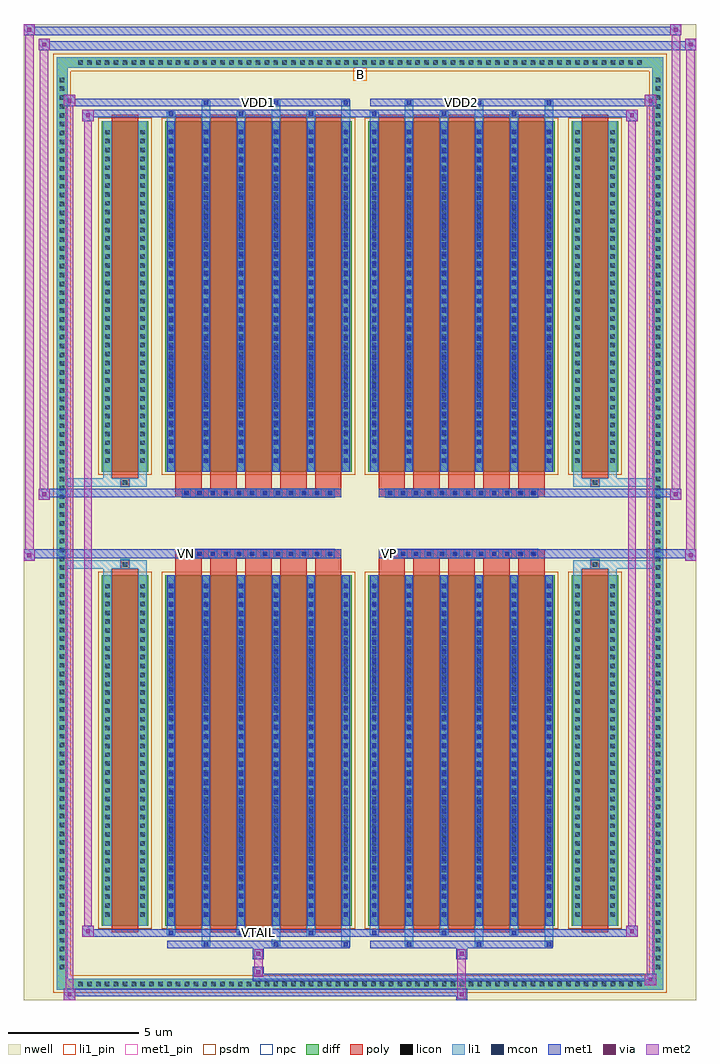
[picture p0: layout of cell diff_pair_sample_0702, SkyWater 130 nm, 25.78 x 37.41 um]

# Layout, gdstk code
import gdstk
lib = gdstk.Library(unit=1e-6, precision=5e-09)
def R(c, l, rs):  # rectangles x0, y0, x1, y1
    for r in rs: c.add(gdstk.rectangle(r[:2], r[2:], *l))
def A(c, l, x, y, w, h, nx, ny, dx, dy):  # array of equal rectangles
    R(c, l, [(x+i*dx, y+j*dy, x+i*dx+w, y+j*dy+h) for i in range(nx) for j in range(ny)])
def P(c, l, *ps):  # polygons
    for p in ps: c.add(gdstk.Polygon(p, *l))
nwell = (64, 20)
diff = (65, 20)
poly = (66, 20)
licon = (66, 44)
li1_pin = (67, 16)
li1 = (67, 20)
mcon = (67, 44)
met1_pin = (68, 16)
met1 = (68, 20)
via = (68, 44)
met2 = (69, 20)
psdm = (94, 20)
npc = (95, 20)

diff_pair_sample_0702 = lib.new_cell('diff_pair_sample_0702')
R(diff_pair_sample_0702, nwell, [(-12.89,-18.27,12.89,19.14), (-10.21,-16.46,-0.01,-0.8), (0.01,-16.46,10.21,-0.8), (-10.21,0.8,-0.01,16.46), (0.01,0.8,10.21,16.46)])
A(diff_pair_sample_0702, diff, -10.915, -17.87, 0.41, 0.41, 64, 2, 0.34, 35.33)
A(diff_pair_sample_0702, diff, -11.62, -17.205, 0.41, 0.41, 1, 101, 0, 0.34)
A(diff_pair_sample_0702, diff, 11.21, -17.205, 0.41, 0.41, 1, 101, 0, 0.34)
R(diff_pair_sample_0702, diff, [(-10.915,-17.87,10.915,-17.46), (-11.62,-17.205,-11.21,17.205), (11.21,-17.205,11.62,17.205), (-9.9,-15.415,-8.11,-1.985), (-7.47,-15.415,-0.32,-1.985), (0.32,-15.415,7.47,-1.985), (8.11,-15.415,9.9,-1.985), (-9.9,1.985,-8.11,15.415), (-7.47,1.985,-0.32,15.415), (0.32,1.985,7.47,15.415), (8.11,1.985,9.9,15.415), (-10.915,17.46,10.915,17.87)])
P(diff_pair_sample_0702, diff, [(11.62,17.87),(-11.62,17.87),(-11.62,-17.46),(-11.21,-17.46),(-11.21,17.46),(11.21,17.46),(11.21,-17.46),(-11.21,-17.46),(-11.62,-17.46),(-11.62,-17.87),(11.62,-17.87)])
A(diff_pair_sample_0702, poly, -7.08, -15.665, 1.01, 13.93, 5, 2, 1.34, 17.4)
A(diff_pair_sample_0702, poly, 0.71, -15.665, 1.01, 13.93, 5, 2, 1.34, 17.4)
A(diff_pair_sample_0702, poly, -7.08, -1.735, 1.01, 0.405, 5, 2, 1.34, 3.065)
A(diff_pair_sample_0702, poly, 0.71, -1.735, 1.01, 0.405, 5, 2, 1.34, 3.065)
A(diff_pair_sample_0702, poly, -6.81, -1.33, 0.33, 0.33, 12, 2, 0.5, 2.33)
A(diff_pair_sample_0702, poly, 0.98, -1.33, 0.33, 0.33, 12, 2, 0.5, 2.33)
R(diff_pair_sample_0702, poly, [(-9.51,-15.665,-8.5,-1.735), (8.5,-15.665,9.51,-1.735), (-9.17,-1.735,-8.84,-1.405), (-9.17,-1.735,-8.84,-1.405), (8.84,-1.735,9.17,-1.405), (8.84,-1.735,9.17,-1.405), (-7.08,-1.33,-0.71,-1), (0.71,-1.33,7.08,-1), (-7.08,1,-0.71,1.33), (0.71,1,7.08,1.33), (-9.17,1.405,-8.84,1.735), (-9.17,1.405,-8.84,1.735), (8.84,1.405,9.17,1.735), (8.84,1.405,9.17,1.735), (-9.51,1.735,-8.5,15.665), (8.5,1.735,9.51,15.665)])
A(diff_pair_sample_0702, licon, -10.795, -17.75, 0.17, 0.17, 64, 2, 0.34, 35.33)
A(diff_pair_sample_0702, licon, -11.5, -17.085, 0.17, 0.17, 1, 101, 0, 0.34)
A(diff_pair_sample_0702, licon, 11.33, -17.085, 0.17, 0.17, 1, 101, 0, 0.34)
A(diff_pair_sample_0702, licon, -9.76, -15.075, 0.17, 0.17, 1, 38, 0, 0.34)
A(diff_pair_sample_0702, licon, -8.42, -15.075, 0.17, 0.17, 1, 38, 0, 0.34)
A(diff_pair_sample_0702, licon, -7.33, -15.075, 0.17, 0.17, 6, 38, 1.34, 0.34)
A(diff_pair_sample_0702, licon, 0.46, -15.075, 0.17, 0.17, 6, 38, 1.34, 0.34)
A(diff_pair_sample_0702, licon, 8.25, -15.075, 0.17, 0.17, 1, 38, 0, 0.34)
A(diff_pair_sample_0702, licon, 9.59, -15.075, 0.17, 0.17, 1, 38, 0, 0.34)
A(diff_pair_sample_0702, licon, -6.73, -1.25, 0.17, 0.17, 12, 2, 0.5, 2.33)
A(diff_pair_sample_0702, licon, 1.06, -1.25, 0.17, 0.17, 12, 2, 0.5, 2.33)
A(diff_pair_sample_0702, licon, -9.76, 2.325, 0.17, 0.17, 1, 38, 0, 0.34)
A(diff_pair_sample_0702, licon, -8.42, 2.325, 0.17, 0.17, 1, 38, 0, 0.34)
A(diff_pair_sample_0702, licon, -7.33, 2.325, 0.17, 0.17, 6, 38, 1.34, 0.34)
A(diff_pair_sample_0702, licon, 0.46, 2.325, 0.17, 0.17, 6, 38, 1.34, 0.34)
A(diff_pair_sample_0702, licon, 8.25, 2.325, 0.17, 0.17, 1, 38, 0, 0.34)
A(diff_pair_sample_0702, licon, 9.59, 2.325, 0.17, 0.17, 1, 38, 0, 0.34)
R(diff_pair_sample_0702, licon, [(-9.09,-1.655,-8.92,-1.485), (8.92,-1.655,9.09,-1.485), (-9.09,1.485,-8.92,1.655), (8.92,1.485,9.09,1.655)])
R(diff_pair_sample_0702, li1_pin, [(-0.25,16.96,0.25,17.46)])
A(diff_pair_sample_0702, li1, -10.875, -17.83, 0.33, 0.33, 64, 2, 0.34, 35.33)
A(diff_pair_sample_0702, li1, -11.58, -17.165, 0.33, 0.33, 1, 101, 0, 0.34)
A(diff_pair_sample_0702, li1, 11.25, -17.165, 0.33, 0.33, 1, 101, 0, 0.34)
A(diff_pair_sample_0702, li1, -6.07, -16.22, 0.33, 0.805, 3, 2, 2.68, 31.635)
A(diff_pair_sample_0702, li1, -5.99, -16.22, 0.17, 0.17, 3, 2, 2.68, 32.27)
A(diff_pair_sample_0702, li1, 1.72, -16.22, 0.33, 0.805, 3, 2, 2.68, 31.635)
A(diff_pair_sample_0702, li1, 1.8, -16.22, 0.17, 0.17, 3, 2, 2.68, 32.27)
A(diff_pair_sample_0702, li1, -7.41, -15.79, 0.33, 0.375, 3, 2, 2.68, 31.205)
A(diff_pair_sample_0702, li1, -7.33, -15.79, 0.17, 0.17, 3, 2, 2.68, 31.41)
A(diff_pair_sample_0702, li1, 0.38, -15.79, 0.33, 0.375, 3, 2, 2.68, 31.205)
A(diff_pair_sample_0702, li1, 0.46, -15.79, 0.17, 0.17, 3, 2, 2.68, 31.41)
A(diff_pair_sample_0702, li1, -7.41, -15.415, 0.33, 13.43, 6, 2, 1.34, 17.4)
A(diff_pair_sample_0702, li1, 0.38, -15.415, 0.33, 13.43, 6, 2, 1.34, 17.4)
A(diff_pair_sample_0702, li1, -9.84, -15.155, 0.33, 0.33, 1, 38, 0, 0.34)
A(diff_pair_sample_0702, li1, -8.5, -15.155, 0.33, 0.33, 1, 38, 0, 0.34)
A(diff_pair_sample_0702, li1, -7.41, -15.155, 0.33, 0.33, 6, 38, 1.34, 0.34)
A(diff_pair_sample_0702, li1, 0.38, -15.155, 0.33, 0.33, 6, 38, 1.34, 0.34)
A(diff_pair_sample_0702, li1, 8.17, -15.155, 0.33, 0.33, 1, 38, 0, 0.34)
A(diff_pair_sample_0702, li1, 9.51, -15.155, 0.33, 0.33, 1, 38, 0, 0.34)
A(diff_pair_sample_0702, li1, -7.33, -15.085, 0.17, 0.17, 6, 36, 1.34, 0.36)
A(diff_pair_sample_0702, li1, -7.33, -15.085, 0.17, 12.77, 6, 2, 1.34, 17.4)
A(diff_pair_sample_0702, li1, 0.46, -15.085, 0.17, 0.17, 6, 36, 1.34, 0.36)
A(diff_pair_sample_0702, li1, 0.46, -15.085, 0.17, 12.77, 6, 2, 1.34, 17.4)
A(diff_pair_sample_0702, li1, -6.81, -1.33, 0.33, 0.33, 12, 2, 0.5, 2.33)
A(diff_pair_sample_0702, li1, 0.98, -1.33, 0.33, 0.33, 12, 2, 0.5, 2.33)
A(diff_pair_sample_0702, li1, -9.84, 2.245, 0.33, 0.33, 1, 38, 0, 0.34)
A(diff_pair_sample_0702, li1, -8.5, 2.245, 0.33, 0.33, 1, 38, 0, 0.34)
A(diff_pair_sample_0702, li1, -7.41, 2.245, 0.33, 0.33, 6, 38, 1.34, 0.34)
A(diff_pair_sample_0702, li1, 0.38, 2.245, 0.33, 0.33, 6, 38, 1.34, 0.34)
A(diff_pair_sample_0702, li1, 8.17, 2.245, 0.33, 0.33, 1, 38, 0, 0.34)
A(diff_pair_sample_0702, li1, 9.51, 2.245, 0.33, 0.33, 1, 38, 0, 0.34)
A(diff_pair_sample_0702, li1, -7.33, 2.315, 0.17, 0.17, 6, 36, 1.34, 0.36)
A(diff_pair_sample_0702, li1, 0.46, 2.315, 0.17, 0.17, 6, 36, 1.34, 0.36)
R(diff_pair_sample_0702, li1, [(-11.62,-17.87,-11.21,-17.46), (-11.62,-17.87,-11.21,-17.46), (-11.21,-17.87,11.21,-17.46), (11.21,-17.87,11.62,-17.46), (11.21,-17.87,11.62,-17.46), (-11.62,-17.46,-11.21,17.46), (11.21,-17.46,11.62,17.46), (-9.84,-15.415,-9.51,-1.985), (-8.5,-15.415,-8.17,-1.985), (8.17,-15.415,8.5,-1.985), (9.51,-15.415,9.84,-1.985), (-9.84,-1.985,-9.51,-1.405), (-8.5,-1.985,-8.17,-1.405), (8.17,-1.985,8.5,-1.405), (9.51,-1.985,9.84,-1.405), (-11.62,-1.735,-9.17,-1.405), (-9.84,-1.735,-9.17,-1.405), (-9.17,-1.735,-8.84,-1.405), (-8.84,-1.735,-8.17,-1.405), (8.17,-1.735,8.84,-1.405), (8.84,-1.735,9.17,-1.405), (8.84,-1.735,11.62,-1.405), (9.17,-1.735,9.84,-1.405), (-11.62,1.405,-9.17,1.735), (-9.84,1.405,-9.17,1.735), (-9.84,1.405,-9.51,1.985), (-9.17,1.405,-8.84,1.735), (-8.84,1.405,-8.17,1.735), (-8.5,1.405,-8.17,1.985), (8.17,1.405,8.84,1.735), (8.17,1.405,8.5,1.985), (8.84,1.405,9.17,1.735), (8.84,1.405,11.62,1.735), (9.17,1.405,9.84,1.735), (9.51,1.405,9.84,1.985), (-9.84,1.985,-9.51,15.415), (-8.5,1.985,-8.17,15.415), (8.17,1.985,8.5,15.415), (9.51,1.985,9.84,15.415), (-11.62,17.46,-11.21,17.87), (-11.62,17.46,-11.21,17.87), (-11.21,17.46,11.21,17.87), (11.21,17.46,11.62,17.87), (11.21,17.46,11.62,17.87)])
A(diff_pair_sample_0702, mcon, -5.99, -16.22, 0.17, 0.17, 3, 2, 2.68, 32.27)
A(diff_pair_sample_0702, mcon, 1.8, -16.22, 0.17, 0.17, 3, 2, 2.68, 32.27)
A(diff_pair_sample_0702, mcon, -7.33, -15.79, 0.17, 0.17, 3, 2, 2.68, 31.41)
A(diff_pair_sample_0702, mcon, 0.46, -15.79, 0.17, 0.17, 3, 2, 2.68, 31.41)
A(diff_pair_sample_0702, mcon, -7.33, -15.085, 0.17, 0.17, 6, 36, 1.34, 0.36)
A(diff_pair_sample_0702, mcon, 0.46, -15.085, 0.17, 0.17, 6, 36, 1.34, 0.36)
A(diff_pair_sample_0702, mcon, -6.73, -1.25, 0.17, 0.17, 12, 2, 0.5, 2.33)
A(diff_pair_sample_0702, mcon, 1.06, -1.25, 0.17, 0.17, 12, 2, 0.5, 2.33)
A(diff_pair_sample_0702, mcon, -7.33, 2.315, 0.17, 0.17, 6, 36, 1.34, 0.36)
A(diff_pair_sample_0702, mcon, 0.46, 2.315, 0.17, 0.17, 6, 36, 1.34, 0.36)
R(diff_pair_sample_0702, met1_pin, [(-4.03,-15.83,-3.76,-15.56), (-6.78,-1.29,-6.51,-1.02), (1.01,-1.29,1.28,-1.02), (-4.03,16.01,-3.76,16.28), (3.76,16.01,4.03,16.28)])
A(diff_pair_sample_0702, met1, -6.05, -16.28, 0.29, 0.29, 3, 2, 2.68, 32.27)
A(diff_pair_sample_0702, met1, 1.74, -16.28, 0.29, 0.29, 3, 2, 2.68, 32.27)
A(diff_pair_sample_0702, met1, -7.39, -15.85, 0.29, 0.29, 3, 2, 2.68, 31.41)
A(diff_pair_sample_0702, met1, 0.4, -15.85, 0.29, 0.29, 3, 2, 2.68, 31.41)
A(diff_pair_sample_0702, met1, -7.39, -15.415, 0.29, 13.43, 6, 2, 1.34, 17.4)
A(diff_pair_sample_0702, met1, 0.4, -15.415, 0.29, 13.43, 6, 2, 1.34, 17.4)
A(diff_pair_sample_0702, met1, -7.39, -15.145, 0.29, 0.29, 6, 36, 1.34, 0.36)
A(diff_pair_sample_0702, met1, 0.4, -15.145, 0.29, 0.29, 6, 36, 1.34, 0.36)
A(diff_pair_sample_0702, met1, -6.79, -1.31, 0.29, 0.29, 12, 2, 0.5, 2.33)
A(diff_pair_sample_0702, met1, 1, -1.31, 0.29, 0.29, 12, 2, 0.5, 2.33)
A(diff_pair_sample_0702, met1, -7.39, 2.255, 0.29, 0.29, 6, 36, 1.34, 0.36)
A(diff_pair_sample_0702, met1, 0.4, 2.255, 0.29, 0.29, 6, 36, 1.34, 0.36)
R(diff_pair_sample_0702, met1, [(-11.35,-18.27,-10.92,-17.84), (3.68,-18.27,4.11,-17.84), (-11.35,-18.13,4.11,-17.84), (10.92,-17.7,11.35,-17.27), (-4.11,-17.56,11.35,-17.27), (-4.11,-17.42,-3.68,-16.99), (-4.11,-16.71,-3.68,-16.28), (3.68,-16.71,4.11,-16.28), (-7.39,-16.28,-0.4,-15.99), (0.4,-16.28,7.39,-15.99), (-10.64,-15.85,-10.21,-15.42), (-10.64,-15.85,-7.39,-15.56), (-7.39,-15.85,-0.4,-15.56), (-0.4,-15.85,0.4,-15.56), (0.4,-15.85,7.39,-15.56), (7.39,-15.85,10.64,-15.56), (10.21,-15.85,10.64,-15.42), (-12.89,-1.43,-12.46,-1), (12.46,-1.43,12.89,-1), (-12.89,-1.33,-0.71,-1), (-7.08,-1.33,-0.71,-1), (0.71,-1.33,7.08,-1), (0.71,-1.33,12.89,-1), (-12.32,0.9,-11.89,1.33), (11.89,0.9,12.32,1.33), (-12.32,1,-7.08,1.33), (-7.08,1,-0.71,1.33), (0.71,1,7.08,1.33), (7.08,1,12.32,1.33), (-10.64,15.42,-10.21,15.85), (10.21,15.42,10.64,15.85), (-10.64,15.56,-7.39,15.85), (-7.39,15.56,-0.4,15.85), (-0.4,15.56,0.4,15.85), (0.4,15.56,7.39,15.85), (7.39,15.56,10.64,15.85), (-11.35,15.99,-10.92,16.42), (-11.35,15.99,-7.39,16.28), (-7.39,15.99,-0.4,16.28), (0.4,15.99,7.39,16.28), (7.39,15.99,11.35,16.28), (10.92,15.99,11.35,16.42), (-12.32,18.14,-11.89,18.57), (-12.32,18.14,-10.21,18.47), (-10.21,18.14,10.21,18.47), (10.21,18.14,12.89,18.47), (12.46,18.14,12.89,18.57), (-12.89,18.71,-12.46,19.14), (-12.89,18.71,-10.21,19.04), (-10.21,18.71,10.21,19.04), (10.21,18.71,12.32,19.04), (11.89,18.71,12.32,19.14)])
R(diff_pair_sample_0702, via, [(-11.21,-18.13,-11.06,-17.98), (3.82,-18.13,3.97,-17.98), (11.06,-17.56,11.21,-17.41), (-3.97,-17.28,-3.82,-17.13), (-3.97,-16.57,-3.82,-16.42), (3.82,-16.57,3.97,-16.42), (-10.5,-15.71,-10.35,-15.56), (10.35,-15.71,10.5,-15.56), (-12.75,-1.29,-12.6,-1.14), (12.6,-1.29,12.75,-1.14), (-12.18,1.04,-12.03,1.19), (12.03,1.04,12.18,1.19), (-10.5,15.56,-10.35,15.71), (10.35,15.56,10.5,15.71), (-11.21,16.13,-11.06,16.28), (11.06,16.13,11.21,16.28), (-12.18,18.28,-12.03,18.43), (12.6,18.28,12.75,18.43), (-12.75,18.85,-12.6,19), (12.03,18.85,12.18,19)])
R(diff_pair_sample_0702, met2, [(-11.35,-18.27,-10.92,-17.84), (-11.28,-18.27,-10.99,16.42), (-10.99,-18.27,-10.92,-17.84), (-11.3,-18.22,-10.97,-17.89), (3.73,-18.22,4.06,-17.89), (3.73,-17.89,4.06,-16.66), (10.92,-17.7,11.35,-17.27), (10.99,-17.7,11.28,16.42), (11.28,-17.7,11.35,-17.27), (10.97,-17.65,11.3,-17.32), (-4.06,-17.37,-3.73,-17.04), (-4.06,-17.04,-3.73,-16.66), (-4.06,-16.66,-3.73,-16.33), (3.73,-16.66,4.06,-16.33), (-10.64,-15.85,-10.21,-15.42), (-10.57,-15.85,-10.28,15.85), (-10.28,-15.85,-10.21,-15.42), (10.21,-15.85,10.64,-15.42), (10.28,-15.85,10.57,15.85), (10.57,-15.85,10.64,-15.42), (-10.59,-15.8,-10.26,-15.47), (10.26,-15.8,10.59,-15.47), (-12.89,-1.43,-12.46,-1), (-12.84,-1.43,-12.51,19.14), (-12.51,-1.43,-12.46,-1), (12.46,-1.43,12.89,-1), (12.51,-1.43,12.84,18.57), (12.84,-1.43,12.89,-1), (-12.84,-1.38,-12.51,-1.05), (12.51,-1.38,12.84,-1.05), (-12.32,0.9,-11.89,1.33), (-12.27,0.9,-11.94,18.57), (-11.94,0.9,-11.89,1.33), (11.89,0.9,12.32,1.33), (11.94,0.9,12.27,19.14), (12.27,0.9,12.32,1.33), (-12.27,0.95,-11.94,1.28), (11.94,0.95,12.27,1.28), (-10.64,15.42,-10.21,15.85), (-10.28,15.42,-10.21,15.85), (10.21,15.42,10.64,15.85), (10.57,15.42,10.64,15.85), (-10.59,15.47,-10.26,15.8), (10.26,15.47,10.59,15.8), (-11.35,15.99,-10.92,16.42), (-10.99,15.99,-10.92,16.42), (10.92,15.99,11.35,16.42), (11.28,15.99,11.35,16.42), (-11.3,16.04,-10.97,16.37), (10.97,16.04,11.3,16.37), (-12.32,18.14,-11.89,18.57), (-11.94,18.14,-11.89,18.57), (12.46,18.14,12.89,18.57), (12.84,18.14,12.89,18.57), (-12.27,18.19,-11.94,18.52), (12.51,18.19,12.84,18.52), (-12.89,18.71,-12.46,19.14), (-12.51,18.71,-12.46,19.14), (11.89,18.71,12.32,19.14), (12.27,18.71,12.32,19.14), (-12.84,18.76,-12.51,19.09), (11.94,18.76,12.27,19.09)])
R(diff_pair_sample_0702, psdm, [(-10.03,-15.545,-7.98,-1.855), (-7.6,-15.545,-0.19,-1.855), (0.19,-15.545,7.6,-1.855), (7.98,-15.545,10.03,-1.855), (-10.03,1.855,-7.98,15.545), (-7.6,1.855,-0.19,15.545), (0.19,1.855,7.6,15.545), (7.98,1.855,10.03,15.545)])
P(diff_pair_sample_0702, psdm, [(11.75,18),(-11.75,18),(-11.75,-17.33),(-11.08,-17.33),(-11.08,17.33),(11.08,17.33),(11.08,-17.33),(-11.08,-17.33),(-11.75,-17.33),(-11.75,-18),(11.75,-18)])
A(diff_pair_sample_0702, npc, -6.83, -1.35, 0.37, 0.37, 12, 2, 0.5, 2.33)
A(diff_pair_sample_0702, npc, 0.96, -1.35, 0.37, 0.37, 12, 2, 0.5, 2.33)
R(diff_pair_sample_0702, npc, [(-9.19,-1.755,-8.82,-1.385), (8.82,-1.755,9.19,-1.385), (-6.83,-1.35,-5.96,-0.98), (-6.83,-1.35,-5.96,-0.98), (-6.33,-1.35,-5.46,-0.98), (-6.33,-1.35,-5.46,-0.98), (-5.83,-1.35,-4.96,-0.98), (-5.83,-1.35,-4.96,-0.98), (-5.33,-1.35,-4.46,-0.98), (-5.33,-1.35,-4.46,-0.98), (-4.83,-1.35,-3.96,-0.98), (-4.83,-1.35,-3.96,-0.98), (-4.33,-1.35,-3.46,-0.98), (-4.33,-1.35,-3.46,-0.98), (-3.83,-1.35,-2.96,-0.98), (-3.83,-1.35,-2.96,-0.98), (-3.33,-1.35,-2.46,-0.98), (-3.33,-1.35,-2.46,-0.98), (-2.83,-1.35,-1.96,-0.98), (-2.83,-1.35,-1.96,-0.98), (-2.33,-1.35,-1.46,-0.98), (-2.33,-1.35,-1.46,-0.98), (-1.83,-1.35,-0.96,-0.98), (-1.83,-1.35,-0.96,-0.98), (0.96,-1.35,1.83,-0.98), (0.96,-1.35,1.83,-0.98), (1.46,-1.35,2.33,-0.98), (1.46,-1.35,2.33,-0.98), (1.96,-1.35,2.83,-0.98), (1.96,-1.35,2.83,-0.98), (2.46,-1.35,3.33,-0.98), (2.46,-1.35,3.33,-0.98), (2.96,-1.35,3.83,-0.98), (2.96,-1.35,3.83,-0.98), (3.46,-1.35,4.33,-0.98), (3.46,-1.35,4.33,-0.98), (3.96,-1.35,4.83,-0.98), (3.96,-1.35,4.83,-0.98), (4.46,-1.35,5.33,-0.98), (4.46,-1.35,5.33,-0.98), (4.96,-1.35,5.83,-0.98), (4.96,-1.35,5.83,-0.98), (5.46,-1.35,6.33,-0.98), (5.46,-1.35,6.33,-0.98), (5.96,-1.35,6.83,-0.98), (5.96,-1.35,6.83,-0.98), (-6.83,0.98,-5.96,1.35), (-6.83,0.98,-5.96,1.35), (-6.33,0.98,-5.46,1.35), (-6.33,0.98,-5.46,1.35), (-5.83,0.98,-4.96,1.35), (-5.83,0.98,-4.96,1.35), (-5.33,0.98,-4.46,1.35), (-5.33,0.98,-4.46,1.35), (-4.83,0.98,-3.96,1.35), (-4.83,0.98,-3.96,1.35), (-4.33,0.98,-3.46,1.35), (-4.33,0.98,-3.46,1.35), (-3.83,0.98,-2.96,1.35), (-3.83,0.98,-2.96,1.35), (-3.33,0.98,-2.46,1.35), (-3.33,0.98,-2.46,1.35), (-2.83,0.98,-1.96,1.35), (-2.83,0.98,-1.96,1.35), (-2.33,0.98,-1.46,1.35), (-2.33,0.98,-1.46,1.35), (-1.83,0.98,-0.96,1.35), (-1.83,0.98,-0.96,1.35), (0.96,0.98,1.83,1.35), (0.96,0.98,1.83,1.35), (1.46,0.98,2.33,1.35), (1.46,0.98,2.33,1.35), (1.96,0.98,2.83,1.35), (1.96,0.98,2.83,1.35), (2.46,0.98,3.33,1.35), (2.46,0.98,3.33,1.35), (2.96,0.98,3.83,1.35), (2.96,0.98,3.83,1.35), (3.46,0.98,4.33,1.35), (3.46,0.98,4.33,1.35), (3.96,0.98,4.83,1.35), (3.96,0.98,4.83,1.35), (4.46,0.98,5.33,1.35), (4.46,0.98,5.33,1.35), (4.96,0.98,5.83,1.35), (4.96,0.98,5.83,1.35), (5.46,0.98,6.33,1.35), (5.46,0.98,6.33,1.35), (5.96,0.98,6.83,1.35), (5.96,0.98,6.83,1.35), (-9.19,1.385,-8.82,1.755), (8.82,1.385,9.19,1.755)])
diff_pair_sample_0702.add(gdstk.Label('VTAIL', (-3.895,-15.695), layer=68, texttype=5))
diff_pair_sample_0702.add(gdstk.Label('VN', (-6.645,-1.155), layer=68, texttype=5))
diff_pair_sample_0702.add(gdstk.Label('VP', (1.145,-1.155), layer=68, texttype=5))
diff_pair_sample_0702.add(gdstk.Label('B', (0,17.21), layer=67, texttype=5))
diff_pair_sample_0702.add(gdstk.Label('VDD2', (3.895,16.145), layer=68, texttype=5))
diff_pair_sample_0702.add(gdstk.Label('VDD1', (-3.895,16.145), layer=68, texttype=5))

lib.write_gds('diff_pair_sample_0702.gds')
